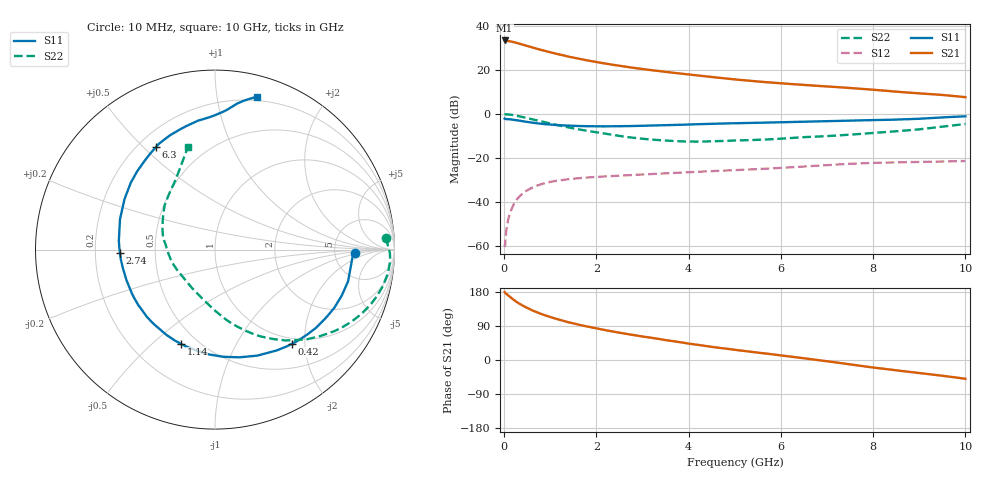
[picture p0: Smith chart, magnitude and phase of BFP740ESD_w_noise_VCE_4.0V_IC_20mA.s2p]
! Infineon Technologies  Discrete & RF Semiconductors
! BFP740ESD
! VCE =  4.0 V,  IC =  20 mA
! Common Emitter S-Parameters:  Jan 2016
# GHz  S  MA  R  50
!  f  S11  S21  S12  S22
! GHz  MAG  ANG  MAG  ANG  MAG  ANG  MAG  ANG
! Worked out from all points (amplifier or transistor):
!   233 points, 10 MHz to 10 GHz, reference 50 ohm
!   highest |S21| = 33.3 dB at 10 MHz (marker M1)
!   |S21| within 3 dB of that: start of sweep to 578.8 MHz
!   unconditionally stable (mu >= 1): start of sweep to 10.56 MHz; 4.588 GHz to 7.27 GHz
!   at 200 MHz: K = 0.19, MSG = 37.0 dB, |S12| = -41.3 dB
!   at 1.74 GHz: K = 0.58, MSG = 26.7 dB, |S12| = -28.9 dB
!   at 10 GHz: K = 0.72, MSG = 14.5 dB, |S12| = -21.4 dB
!   lowest NFmin = 0.79 dB at 450 MHz
!   S11 on the Smith chart (normalised r, x): 10 MHz: 8.14, -0.80; 420 MHz: 0.90, -1.75; 1.14 GHz: 0.41, -0.62; 2.74 GHz: 0.31, -0.02; 6.3 GHz: 0.27, +0.54; 10 GHz: 0.17, +1.29
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0.01  0.783 -1.4  46.37 179.3  0.0011 32.8  0.9541 3.9
0.02  0.768 -2.6  45.66 177.2  0.001 62.9  0.9745 -1.1
0.065  0.7614 -8.7  45.09 172.6  0.0031 73.6  0.9759 -5.0
0.1  0.7623 -13.3  44.85 169.2  0.0045 77.4  0.9721 -8.0
0.2  0.7395 -26.1  42.73 159.4  0.0086 73.7  0.9397 -15.9
0.3  0.7115 -37.8  40.01 150.9  0.0123 69.0  0.8968 -22.8
0.42  0.6779 -50.7  36.73 142.3  0.0162 63.8  0.8409 -30.1
0.6  0.6358 -68.3  32.36 131.4  0.0211 56.8  0.7588 -39.4
0.8  0.5992 -85.4  28.31 121.7  0.0254 50.5  0.6773 -48.2
0.98  0.5739 -99.1  25.32 114.1  0.0283 45.9  0.6117 -55.1
1.14  0.558 -110.0  23.02 108.2  0.0305 42.5  0.5613 -60.5
1.4  0.5396 -125.4  19.91 99.4  0.0331 38.2  0.4914 -68.4
1.68  0.5289 -139.2  17.35 91.5  0.0353 34.7  0.4337 -75.5
2.2  0.522 -160.2  13.84 78.6  0.0384 30.5  0.3533 -87.6
2.74  0.53 -178.1  11.34 67.2  0.041 27.9  0.2928 -101.0
3.4  0.5501 164.7  9.246 54.6  0.0443 25.8  0.2524 -118.5
4.5  0.5994 141.5  6.867 34.4  0.0503 22.3  0.2398 -151.7
5.1  0.6177 133.5  5.924 25.4  0.0535 20.9  0.2506 -165.3
6.3  0.6584 120.1  4.697 7.7  0.0624 17.5  0.287 170.2
6.8  0.6765 114.1  4.329 -0.1  0.0671 15.0  0.3066 161.9
8.4  0.7385 92.3  3.258 -25.8  0.0791 2.1  0.3963 131.1
10  0.8824 74.8  2.399 -49.6  0.0854 -9.5  0.5908 104.9
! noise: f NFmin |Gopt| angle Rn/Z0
0.45  0.79  0.01  -64  0.1
0.9  0.82  0.02  -139  0.09
1.9  0.83  0.05  -129  0.1
2.4  0.88  0.09  -127  0.11
5.5  1.04  0.29  -122  0.12
10  1.64  0.57  -85  0.53
